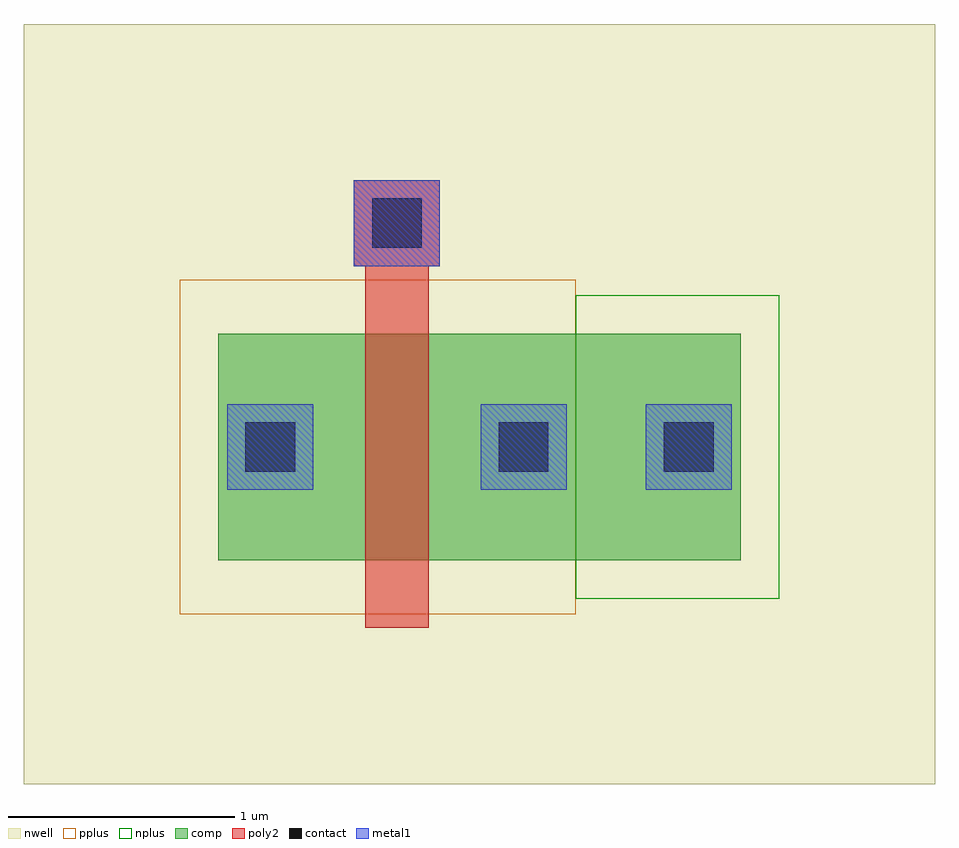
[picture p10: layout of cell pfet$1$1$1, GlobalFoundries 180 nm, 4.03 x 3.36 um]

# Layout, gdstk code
import gdstk
lib = gdstk.Library(unit=1e-6, precision=5e-09)
def R(c, l, rs):  # rectangles x0, y0, x1, y1
    for r in rs: c.add(gdstk.rectangle(r[:2], r[2:], *l))
def P(c, l, *ps):  # polygons
    for p in ps: c.add(gdstk.Polygon(p, *l))
nwell = (21, 0)
comp = (22, 0)
poly2 = (30, 0)
pplus = (31, 0)
nplus = (32, 0)
contact = (33, 0)
metal1 = (34, 0)

pfet_1_1_1 = lib.new_cell('pfet$1$1$1')
R(pfet_1_1_1, nwell, [(-1.32,-0.99,2.71,2.37)])
R(pfet_1_1_1, comp, [(-0.46,0,1.85,1)])
P(pfet_1_1_1, poly2, [(0.19,-0.3),(0.19,1.3),(0.14,1.3),(0.14,1.68),(0.52,1.68),(0.52,1.3),(0.47,1.3),(0.47,-0.3)])
R(pfet_1_1_1, pplus, [(-0.63,-0.24,1.12,1.24)])
R(pfet_1_1_1, nplus, [(1.12,-0.17,2.02,1.17)])
R(pfet_1_1_1, contact, [(-0.34,0.39,-0.12,0.61), (0.78,0.39,1,0.61), (1.51,0.39,1.73,0.61), (0.22,1.38,0.44,1.6)])
R(pfet_1_1_1, metal1, [(-0.42,0.31,-0.04,0.69), (0.7,0.31,1.08,0.69), (1.43,0.31,1.81,0.69), (0.14,1.3,0.52,1.68)])

lib.write_gds('pfet_1_1_1.gds')
